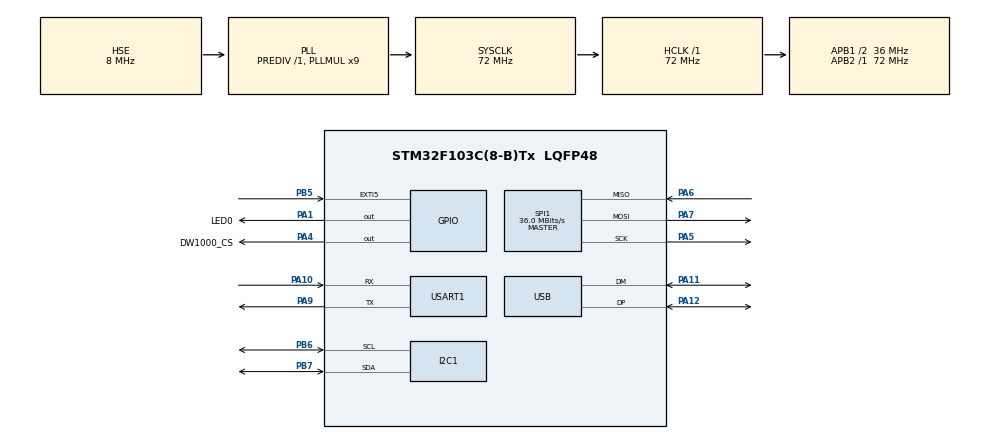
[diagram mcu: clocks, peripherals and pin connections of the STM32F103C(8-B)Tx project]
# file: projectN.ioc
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Dma.Request0=USART1_RX
Dma.Request1=USART1_TX
Dma.USART1_RX.0.Direction=DMA_PERIPH_TO_MEMORY
Dma.USART1_RX.0.Instance=DMA1_Channel5
Dma.USART1_RX.0.MemDataAlignment=DMA_MDATAALIGN_BYTE
Dma.USART1_RX.0.MemInc=DMA_MINC_ENABLE
Dma.USART1_RX.0.Mode=DMA_CIRCULAR
Dma.USART1_RX.0.PeriphDataAlignment=DMA_PDATAALIGN_BYTE
Dma.USART1_RX.0.PeriphInc=DMA_PINC_DISABLE
Dma.USART1_RX.0.Priority=DMA_PRIORITY_HIGH
Dma.USART1_TX.1.Direction=DMA_MEMORY_TO_PERIPH
Dma.USART1_TX.1.Instance=DMA1_Channel4
Dma.USART1_TX.1.MemDataAlignment=DMA_MDATAALIGN_BYTE
Dma.USART1_TX.1.MemInc=DMA_MINC_ENABLE
Dma.USART1_TX.1.Mode=DMA_NORMAL
Dma.USART1_TX.1.PeriphDataAlignment=DMA_PDATAALIGN_BYTE
Dma.USART1_TX.1.PeriphInc=DMA_PINC_DISABLE
Dma.USART1_TX.1.Priority=DMA_PRIORITY_HIGH
I2C1.NoStretchMode=I2C_NOSTRETCH_DISABLE
IWDG.Prescaler=IWDG_PRESCALER_64
IWDG.Reload=625
Mcu.Family=STM32F1
Mcu.Name=STM32F103C(8-B)Tx
Mcu.Package=LQFP48
NVIC.DMA1_Channel4_IRQn=true\:10\:0\:true\:false\:true\:false\:true\:true
NVIC.DMA1_Channel5_IRQn=true\:10\:0\:true\:false\:true\:false\:true\:true
NVIC.EXTI9_5_IRQn=true\:1\:0\:true\:false\:true\:true\:true\:true
NVIC.PriorityGroup=NVIC_PRIORITYGROUP_4
NVIC.SPI1_IRQn=true\:0\:0\:true\:false\:true\:true\:true\:true
NVIC.TIM2_IRQn=true\:11\:0\:true\:false\:true\:true\:true\:true
NVIC.USB_LP_CAN1_RX0_IRQn=true\:0\:0\:false\:false\:true\:false\:true\:true
PA1.GPIO_Label=LED0
PA1.GPIO_PuPd=GPIO_PULLUP
PA1.PinState=GPIO_PIN_SET
PA1.Signal=GPIO_Output
PA10.Mode=Asynchronous
PA10.Signal=USART1_RX
PA11.Mode=Device
PA11.Signal=USB_DM
PA12.Mode=Device
PA12.Signal=USB_DP
PA13.Mode=Serial_Wire
PA13.Signal=SYS_JTMS-SWDIO
PA14.Mode=Serial_Wire
PA14.Signal=SYS_JTCK-SWCLK
PA4.GPIO_Label=DW1000_CS
PA4.GPIO_PuPd=GPIO_NOPULL
PA4.GPIO_Speed=GPIO_SPEED_FREQ_HIGH
PA4.PinState=GPIO_PIN_SET
PA4.Signal=GPIO_Output
PA5.Mode=Full_Duplex_Master
PA5.Signal=SPI1_SCK
PA6.Mode=Full_Duplex_Master
PA6.Signal=SPI1_MISO
PA7.Mode=Full_Duplex_Master
PA7.Signal=SPI1_MOSI
PA9.Mode=Asynchronous
PA9.Signal=USART1_TX
PB5.GPIO_ModeDefaultEXTI=GPIO_MODE_IT_RISING
PB5.GPIO_PuPd=GPIO_PULLDOWN
PB5.Signal=GPXTI5
PB6.Mode=I2C
PB6.Signal=I2C1_SCL
PB7.Mode=I2C
PB7.Signal=I2C1_SDA
PC14-OSC32_IN.Mode=LSE-External-Oscillator
PC14-OSC32_IN.Signal=RCC_OSC32_IN
PC15-OSC32_OUT.Mode=LSE-External-Oscillator
PC15-OSC32_OUT.Signal=RCC_OSC32_OUT
PD0-OSC_IN.Mode=HSE-External-Oscillator
PD0-OSC_IN.Signal=RCC_OSC_IN
PD1-OSC_OUT.Mode=HSE-External-Oscillator
PD1-OSC_OUT.Signal=RCC_OSC_OUT
ProjectManager.HeapSize=0x1000
ProjectManager.StackSize=0x1000
ProjectManager.TargetToolchain=STM32CubeIDE
RCC.AHBFreq_Value=72000000
RCC.APB1CLKDivider=RCC_HCLK_DIV2
RCC.APB1Freq_Value=36000000
RCC.APB1TimFreq_Value=72000000
RCC.APB2Freq_Value=72000000
RCC.APB2TimFreq_Value=72000000
RCC.HCLKFreq_Value=72000000
RCC.PLLMUL=RCC_PLL_MUL9
RCC.PLLSourceVirtual=RCC_PLLSOURCE_HSE
RCC.SYSCLKFreq_VALUE=72000000
RCC.SYSCLKSource=RCC_SYSCLKSOURCE_PLLCLK
RCC.USBFreq_Value=48000000
RCC.USBPrescaler=RCC_USBCLKSOURCE_PLL_DIV1_5
SPI1.BaudRatePrescaler=SPI_BAUDRATEPRESCALER_2
SPI1.CalculateBaudRate=36.0 MBits/s
SPI1.Direction=SPI_DIRECTION_2LINES
SPI1.Mode=SPI_MODE_MASTER
SPI1.VirtualType=VM_MASTER
TIM2.AutoReloadPreload=TIM_AUTORELOAD_PRELOAD_ENABLE
TIM2.Period=999
TIM2.Prescaler=7199
USART1.VirtualMode=VM_ASYNC
USB_DEVICE.CLASS_NAME_FS=CDC
USB_DEVICE.VirtualMode=Cdc
USB_DEVICE.VirtualModeFS=Cdc_FS
VP_IWDG_VS_IWDG.Mode=IWDG_Activate
VP_TIM2_VS_ClockSourceINT.Mode=Internal
VP_USB_DEVICE_VS_USB_DEVICE_CDC_FS.Mode=CDC_FS
board=custom

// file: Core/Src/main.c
/* USER CODE BEGIN Header */
/**
  ******************************************************************************
  * @file           : main.c
  * @brief          : Main program body
  ******************************************************************************
  * @attention
  *
  * Copyright (c) 2025 STMicroelectronics.
  * All rights reserved.
  *
  * This software is licensed under terms that can be found in the LICENSE file
  * in the root directory of this software component.
  * If no LICENSE file comes with this software, it is provided AS-IS.
  *
  ******************************************************************************
  */
#include <stdint.h>

#ifndef _WINT_T
#define _WINT_T
typedef uint32_t wint_t;
#endif
/* USER CODE END Header */
#include "main.h"
#include "dma.h"
#include "i2c.h"
#include "iwdg.h"
#include "spi.h"
#include "tim.h"
#include "usart.h"
#include "usb_device.h"
#include "gpio.h"

/* USER CODE BEGIN Includes */
#include "OLED_I2C.h"
#include "hal_flash.h"
#include "example_selection.h"
#include <deca_device_api.h>
#include <deca_regs.h>
#include "twr_task.h"
#include <shared_defines.h>
#include "uwb.h"
#include <shared_functions.h>
#include <Generic.h>
#include <assert.h>
#include "examples_defines.h"
#include "usbd_cdc_if.h"

volatile uint32_t time32_incr = 0; // 确保加上 volatile 修饰符

// 添加 _dbg_printf 的声明

/* USER CODE END Includes */

void SystemClock_Config(void);
/* USER CODE BEGIN PFP */

extern void ProcessUsbTx(void);  // 声明外部函数
/* USER CODE END PFP */

/* USER CODE BEGIN 0 */

void EnableFlashPrefetchBuffer(void)
{
  __HAL_FLASH_PREFETCH_BUFFER_ENABLE();
}

/* USER CODE END 0 */

int main(void)
{

  /* MCU Configuration--------------------------------------------------------*/

  /* Reset of all peripherals, Initializes the Flash interface and the Systick. */
  HAL_Init();

  /* Configure the system clock */
  SystemClock_Config();

  /* Initialize all configured peripherals */
  MX_GPIO_Init();
  MX_DMA_Init();
  MX_SPI1_Init();
  MX_USART1_UART_Init();
  //MX_IWDG_Init();
  MX_TIM2_Init();
  MX_I2C1_Init();
  USB_Config();
  MX_USB_DEVICE_Init();
  /* USER CODE BEGIN 2 */
  HalFlashInit();
  HalLedInit();
  App_Module_Init();

  // 启动 USART1 DMA 接收
   HAL_UART_Receive_DMA(&huart1, (uint8_t*)&USART1_DMA_RX_BYTE, 1);

   ds_twr_sts_sdc_responder();
  /* USER CODE END 2 */

  /* Infinite loop */
  while (1)
  {

  }
}

void SystemClock_Config(void)
{
  RCC_OscInitTypeDef RCC_OscInitStruct = {0};
  RCC_ClkInitTypeDef RCC_ClkInitStruct = {0};
  RCC_PeriphCLKInitTypeDef PeriphClkInit = {0};

  /** Initializes the RCC Oscillators according to the specified parameters
  * in the RCC_OscInitTypeDef structure.
  */
  RCC_OscInitStruct.OscillatorType = RCC_OSCILLATORTYPE_LSI|RCC_OSCILLATORTYPE_HSE;
  RCC_OscInitStruct.HSEState = RCC_HSE_ON;
  RCC_OscInitStruct.HSEPredivValue = RCC_HSE_PREDIV_DIV1;
  RCC_OscInitStruct.HSIState = RCC_HSI_ON;
  RCC_OscInitStruct.LSIState = RCC_LSI_ON;
  RCC_OscInitStruct.PLL.PLLState = RCC_PLL_ON;
  RCC_OscInitStruct.PLL.PLLSource = RCC_PLLSOURCE_HSE;
  RCC_OscInitStruct.PLL.PLLMUL = RCC_PLL_MUL9;
  if (HAL_RCC_OscConfig(&RCC_OscInitStruct) != HAL_OK)
  {
    Error_Handler();
  }

  /** Initializes the CPU, AHB and APB buses clocks
  */
  RCC_ClkInitStruct.ClockType = RCC_CLOCKTYPE_HCLK|RCC_CLOCKTYPE_SYSCLK
                              |RCC_CLOCKTYPE_PCLK1|RCC_CLOCKTYPE_PCLK2;
  RCC_ClkInitStruct.SYSCLKSource = RCC_SYSCLKSOURCE_PLLCLK;
  RCC_ClkInitStruct.AHBCLKDivider = RCC_SYSCLK_DIV1;
  RCC_ClkInitStruct.APB1CLKDivider = RCC_HCLK_DIV2;
  RCC_ClkInitStruct.APB2CLKDivider = RCC_HCLK_DIV1;

  if (HAL_RCC_ClockConfig(&RCC_ClkInitStruct, FLASH_LATENCY_2) != HAL_OK)
  {
    Error_Handler();
  }
  PeriphClkInit.PeriphClockSelection = RCC_PERIPHCLK_USB;
  PeriphClkInit.UsbClockSelection = RCC_USBCLKSOURCE_PLL_DIV1_5;
  if (HAL_RCCEx_PeriphCLKConfig(&PeriphClkInit) != HAL_OK)
  {
    Error_Handler();
  }
}

void Error_Handler(void)
{
  __disable_irq();
  while (1)
  {
  }
}
